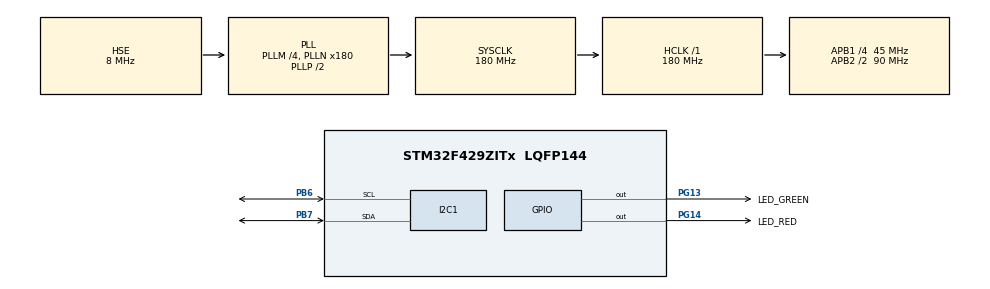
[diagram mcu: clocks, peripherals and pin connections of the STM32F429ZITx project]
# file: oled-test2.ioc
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I2C1.DutyCycle=I2C_DUTYCYCLE_16_9
I2C1.I2C_Mode=I2C_Fast
Mcu.Family=STM32F4
Mcu.Name=STM32F429ZITx
Mcu.Package=LQFP144
NVIC.PriorityGroup=NVIC_PRIORITYGROUP_4
PA13.Mode=Serial_Wire
PA13.Signal=SYS_JTMS-SWDIO
PA14.Mode=Serial_Wire
PA14.Signal=SYS_JTCK-SWCLK
PB6.Mode=I2C
PB6.Signal=I2C1_SCL
PB7.Mode=I2C
PB7.Signal=I2C1_SDA
PC14/OSC32_IN.Mode=LSE-External-Oscillator
PC14/OSC32_IN.Signal=RCC_OSC32_IN
PC15/OSC32_OUT.Mode=LSE-External-Oscillator
PC15/OSC32_OUT.Signal=RCC_OSC32_OUT
PG13.GPIO_Label=LED_GREEN
PG13.Signal=GPIO_Output
PG14.GPIO_Label=LED_RED
PG14.Signal=GPIO_Output
PH0/OSC_IN.Mode=HSE-External-Oscillator
PH0/OSC_IN.Signal=RCC_OSC_IN
PH1/OSC_OUT.Mode=HSE-External-Oscillator
PH1/OSC_OUT.Signal=RCC_OSC_OUT
ProjectManager.HeapSize=0x200
ProjectManager.StackSize=0x400
ProjectManager.TargetToolchain=MDK-ARM V5
RCC.48MHZClocksFreq_Value=45000000
RCC.AHBFreq_Value=180000000
RCC.APB1CLKDivider=RCC_HCLK_DIV4
RCC.APB1Freq_Value=45000000
RCC.APB1TimFreq_Value=90000000
RCC.APB2CLKDivider=RCC_HCLK_DIV2
RCC.APB2Freq_Value=90000000
RCC.APB2TimFreq_Value=180000000
RCC.CortexFreq_Value=180000000
RCC.HCLKFreq_Value=180000000
RCC.HSE_VALUE=8000000
RCC.HSI_VALUE=16000000
RCC.PLLM=4
RCC.PLLN=180
RCC.PLLQ=8
RCC.PLLSourceVirtual=RCC_PLLSOURCE_HSE
RCC.SYSCLKFreq_VALUE=180000000
RCC.SYSCLKSource=RCC_SYSCLKSOURCE_PLLCLK
RCC.VCOOutputFreq_Value=360000000
RTC.Date=17
RTC.Format=RTC_FORMAT_BIN
RTC.Hours=14
RTC.Minutes=12
RTC.Month=RTC_MONTH_NOVEMBER
RTC.WeekDay=RTC_WEEKDAY_TUESDAY
VP_RNG_VS_RNG.Mode=RNG_Activate
VP_RTC_VS_RTC_Activate.Mode=RTC_Enabled
VP_RTC_VS_RTC_Calendar.Mode=RTC_Calendar
board=custom

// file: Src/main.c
/* USER CODE BEGIN Header */
/**
  ******************************************************************************
  * @file           : main.c
  * @brief          : Main program body
  ******************************************************************************
  ** This notice applies to any and all portions of this file
  * that are not between comment pairs USER CODE BEGIN and
  * USER CODE END. Other portions of this file, whether
  * inserted by the user or by software development tools
  * are owned by their respective copyright owners.
  *
  * COPYRIGHT(c) 2020 STMicroelectronics
  *
  * Redistribution and use in source and binary forms, with or without modification,
  * are permitted provided that the following conditions are met:
  *   1. Redistributions of source code must retain the above copyright notice,
  *      this list of conditions and the following disclaimer.
  *   2. Redistributions in binary form must reproduce the above copyright notice,
  *      this list of conditions and the following disclaimer in the documentation
  *      and/or other materials provided with the distribution.
  *   3. Neither the name of STMicroelectronics nor the names of its contributors
  *      may be used to endorse or promote products derived from this software
  *      without specific prior written permission.
  *
  * THIS SOFTWARE IS PROVIDED BY THE COPYRIGHT HOLDERS AND CONTRIBUTORS "AS IS"
  * AND ANY EXPRESS OR IMPLIED WARRANTIES, INCLUDING, BUT NOT LIMITED TO, THE
  * IMPLIED WARRANTIES OF MERCHANTABILITY AND FITNESS FOR A PARTICULAR PURPOSE ARE
  * DISCLAIMED. IN NO EVENT SHALL THE COPYRIGHT HOLDER OR CONTRIBUTORS BE LIABLE
  * FOR ANY DIRECT, INDIRECT, INCIDENTAL, SPECIAL, EXEMPLARY, OR CONSEQUENTIAL
  * DAMAGES (INCLUDING, BUT NOT LIMITED TO, PROCUREMENT OF SUBSTITUTE GOODS OR
  * SERVICES; LOSS OF USE, DATA, OR PROFITS; OR BUSINESS INTERRUPTION) HOWEVER
  * CAUSED AND ON ANY THEORY OF LIABILITY, WHETHER IN CONTRACT, STRICT LIABILITY,
  * OR TORT (INCLUDING NEGLIGENCE OR OTHERWISE) ARISING IN ANY WAY OUT OF THE USE
  * OF THIS SOFTWARE, EVEN IF ADVISED OF THE POSSIBILITY OF SUCH DAMAGE.
  *
  ******************************************************************************
  */
/* USER CODE END Header */

#include "main.h"

/* USER CODE BEGIN Includes */
#include "SSD1306.h"
#include "Fonts.h"
#include <stdlib.h>

static I2C_HandleTypeDef hi2c1;
/* USER CODE END Includes */

/* USER CODE BEGIN PTD */
//time_t rawtime;

/* USER CODE END PTD */

static I2C_HandleTypeDef hi2c1;

RNG_HandleTypeDef hrng;

RTC_HandleTypeDef hrtc;

void SystemClock_Config(void);
static void MX_GPIO_Init(void);
static void MX_I2C1_Init(void);
static void MX_RNG_Init(void);
static void MX_RTC_Init(void);

int main(void)
{
  /* USER CODE BEGIN 1 */
	int i,sec;
	RTC_TimeTypeDef sTime;
	RTC_DateTypeDef sDate;
	char buff[20];

  /* USER CODE END 1 */

  /* MCU Configuration--------------------------------------------------------*/

  /* Reset of all peripherals, Initializes the Flash interface and the Systick. */
  HAL_Init();

  /* Configure the system clock */
  SystemClock_Config();

  /* Initialize all configured peripherals */
  MX_GPIO_Init();
  MX_I2C1_Init();
  MX_RNG_Init();
  MX_RTC_Init();
  /* USER CODE BEGIN 2 */

	if( HAL_I2C_IsDeviceReady(&hi2c1, 0x78, 1, 20) == HAL_OK)
		HAL_GPIO_WritePin(GPIOG, LED_GREEN_Pin, GPIO_PIN_SET);
	else
		HAL_GPIO_WritePin(GPIOG, LED_RED_Pin, GPIO_PIN_SET);

	ssd1306_init(&hi2c1);
	ssd1306_clear_screen(0xFF);
	ssd1306_refresh_gram(&hi2c1);
	HAL_Delay(500);
	ssd1306_clear_screen(0x00);
	ssd1306_display_string(18, 0, "1.3inch OLED", 16, 1);
	ssd1306_display_string(0, 16, "This is a demo for SSD1306 OLED moudle!", 16, 1);
	ssd1306_refresh_gram(&hi2c1);
	HAL_Delay(1000);
	ssd1306_clear_screen(0x00);

	ssd1306_draw_bitmap(0,   2,&c_chSingal816[0],   16, 8);
	ssd1306_draw_bitmap(24,  2,&c_chBluetooth88[0], 8,  8);
	ssd1306_draw_bitmap(40,  2,&c_chMsg816[0],      16, 8);
	ssd1306_draw_bitmap(64,  2,&c_chGPRS88[0],      8,  8);
	ssd1306_draw_bitmap(90,  2,&c_chAlarm88[0],     8,  8);
	ssd1306_draw_bitmap(112, 2,&c_chBat816[0],      16, 8);

	ssd1306_display_string(0,  52, "MUSIC", 12, 0);
	ssd1306_display_string(52, 52, "MENU",  12, 0);
	ssd1306_display_string(98, 52, "PHONE", 12, 0);

	//time(&rawtime);

  /* USER CODE END 2 */

  /* Infinite loop */
  /* USER CODE BEGIN WHILE */
  while (1)
  {
		HAL_Delay(100);
		HAL_RTC_GetTime(&hrtc, &sTime, RTC_FORMAT_BIN);
	  HAL_RTC_GetDate(&hrtc, &sDate, RTC_FORMAT_BIN);

		if(sec != sTime.Seconds)
		{
			sprintf(buff, "%02d:%02d:%02d", sTime.Hours, sTime.Minutes, sTime.Seconds);

	    ssd1306_draw_3216char(0,16, buff[0]);
	    ssd1306_draw_3216char(16,16, buff[1]);
	    ssd1306_draw_3216char(32,16, buff[2]);
	    ssd1306_draw_3216char(48,16, buff[3]);
	    ssd1306_draw_3216char(64,16, buff[4]);
			ssd1306_draw_1616char(80,32, buff[5]);
	    ssd1306_draw_1616char(96,32, buff[6]);
	    ssd1306_draw_1616char(112,32, buff[7]);

	    ssd1306_draw_bitmap(87, 16, &c_chBmp4016[0], 40, 16);

	    ssd1306_refresh_gram(&hi2c1);
      sec = sTime.Seconds;
		}

		//ssd1306_clear_screen(1);
		//ssd1306_clear_screen(0);
    /* USER CODE END WHILE */

  }
}

void SystemClock_Config(void)
{
  RCC_OscInitTypeDef RCC_OscInitStruct = {0};
  RCC_ClkInitTypeDef RCC_ClkInitStruct = {0};
  RCC_PeriphCLKInitTypeDef PeriphClkInitStruct = {0};

  /**Configure the main internal regulator output voltage
  */
  __HAL_RCC_PWR_CLK_ENABLE();
  __HAL_PWR_VOLTAGESCALING_CONFIG(PWR_REGULATOR_VOLTAGE_SCALE1);
  /**Initializes the CPU, AHB and APB busses clocks
  */
  RCC_OscInitStruct.OscillatorType = RCC_OSCILLATORTYPE_LSI|RCC_OSCILLATORTYPE_HSE;
  RCC_OscInitStruct.HSEState = RCC_HSE_ON;
  RCC_OscInitStruct.LSIState = RCC_LSI_ON;
  RCC_OscInitStruct.PLL.PLLState = RCC_PLL_ON;
  RCC_OscInitStruct.PLL.PLLSource = RCC_PLLSOURCE_HSE;
  RCC_OscInitStruct.PLL.PLLM = 4;
  RCC_OscInitStruct.PLL.PLLN = 180;
  RCC_OscInitStruct.PLL.PLLP = RCC_PLLP_DIV2;
  RCC_OscInitStruct.PLL.PLLQ = 8;
  if (HAL_RCC_OscConfig(&RCC_OscInitStruct) != HAL_OK)
  {
    Error_Handler();
  }
  /**Activate the Over-Drive mode
  */
  if (HAL_PWREx_EnableOverDrive() != HAL_OK)
  {
    Error_Handler();
  }
  /**Initializes the CPU, AHB and APB busses clocks
  */
  RCC_ClkInitStruct.ClockType = RCC_CLOCKTYPE_HCLK|RCC_CLOCKTYPE_SYSCLK
                              |RCC_CLOCKTYPE_PCLK1|RCC_CLOCKTYPE_PCLK2;
  RCC_ClkInitStruct.SYSCLKSource = RCC_SYSCLKSOURCE_PLLCLK;
  RCC_ClkInitStruct.AHBCLKDivider = RCC_SYSCLK_DIV1;
  RCC_ClkInitStruct.APB1CLKDivider = RCC_HCLK_DIV4;
  RCC_ClkInitStruct.APB2CLKDivider = RCC_HCLK_DIV2;

  if (HAL_RCC_ClockConfig(&RCC_ClkInitStruct, FLASH_LATENCY_5) != HAL_OK)
  {
    Error_Handler();
  }
  PeriphClkInitStruct.PeriphClockSelection = RCC_PERIPHCLK_RTC;
  PeriphClkInitStruct.RTCClockSelection = RCC_RTCCLKSOURCE_LSI;
  if (HAL_RCCEx_PeriphCLKConfig(&PeriphClkInitStruct) != HAL_OK)
  {
    Error_Handler();
  }
}

static void MX_I2C1_Init(void)
{

  hi2c1.Instance = I2C1;
  hi2c1.Init.ClockSpeed = 400000;
  hi2c1.Init.DutyCycle = I2C_DUTYCYCLE_16_9;
  hi2c1.Init.OwnAddress1 = 0;
  hi2c1.Init.AddressingMode = I2C_ADDRESSINGMODE_7BIT;
  hi2c1.Init.DualAddressMode = I2C_DUALADDRESS_DISABLE;
  hi2c1.Init.OwnAddress2 = 0;
  hi2c1.Init.GeneralCallMode = I2C_GENERALCALL_DISABLE;
  hi2c1.Init.NoStretchMode = I2C_NOSTRETCH_DISABLE;
  if (HAL_I2C_Init(&hi2c1) != HAL_OK)
  {
    Error_Handler();
  }
  /**Configure Analogue filter
  */
  if (HAL_I2CEx_ConfigAnalogFilter(&hi2c1, I2C_ANALOGFILTER_ENABLE) != HAL_OK)
  {
    Error_Handler();
  }
  /**Configure Digital filter
  */
  if (HAL_I2CEx_ConfigDigitalFilter(&hi2c1, 0) != HAL_OK)
  {
    Error_Handler();
  }

}

static void MX_RNG_Init(void)
{

  hrng.Instance = RNG;
  if (HAL_RNG_Init(&hrng) != HAL_OK)
  {
    Error_Handler();
  }

}

static void MX_RTC_Init(void)
{

  RTC_TimeTypeDef sTime = {0};
  RTC_DateTypeDef sDate = {0};

  /**Initialize RTC Only
  */
  hrtc.Instance = RTC;
  hrtc.Init.HourFormat = RTC_HOURFORMAT_24;
  hrtc.Init.AsynchPrediv = 127;
  hrtc.Init.SynchPrediv = 255;
  hrtc.Init.OutPut = RTC_OUTPUT_DISABLE;
  hrtc.Init.OutPutPolarity = RTC_OUTPUT_POLARITY_HIGH;
  hrtc.Init.OutPutType = RTC_OUTPUT_TYPE_OPENDRAIN;
  if (HAL_RTC_Init(&hrtc) != HAL_OK)
  {
    Error_Handler();
  }

  /**Initialize RTC and set the Time and Date
  */
  sTime.Hours = 14;
  sTime.Minutes = 12;
  sTime.Seconds = 0;
  sTime.DayLightSaving = RTC_DAYLIGHTSAVING_NONE;
  sTime.StoreOperation = RTC_STOREOPERATION_RESET;
  if (HAL_RTC_SetTime(&hrtc, &sTime, RTC_FORMAT_BIN) != HAL_OK)
  {
    Error_Handler();
  }
  sDate.WeekDay = RTC_WEEKDAY_TUESDAY;
  sDate.Month = RTC_MONTH_NOVEMBER;
  sDate.Date = 17;
  sDate.Year = 0;

  if (HAL_RTC_SetDate(&hrtc, &sDate, RTC_FORMAT_BIN) != HAL_OK)
  {
    Error_Handler();
  }

}

static void MX_GPIO_Init(void)
{
  GPIO_InitTypeDef GPIO_InitStruct = {0};

  /* GPIO Ports Clock Enable */
  __HAL_RCC_GPIOC_CLK_ENABLE();
  __HAL_RCC_GPIOH_CLK_ENABLE();
  __HAL_RCC_GPIOA_CLK_ENABLE();
  __HAL_RCC_GPIOG_CLK_ENABLE();
  __HAL_RCC_GPIOB_CLK_ENABLE();

  /*Configure GPIO pin Output Level */
  HAL_GPIO_WritePin(GPIOG, LED_GREEN_Pin|LED_RED_Pin, GPIO_PIN_RESET);

  /*Configure GPIO pins : LED_GREEN_Pin LED_RED_Pin */
  GPIO_InitStruct.Pin = LED_GREEN_Pin|LED_RED_Pin;
  GPIO_InitStruct.Mode = GPIO_MODE_OUTPUT_PP;
  GPIO_InitStruct.Pull = GPIO_NOPULL;
  GPIO_InitStruct.Speed = GPIO_SPEED_FREQ_LOW;
  HAL_GPIO_Init(GPIOG, &GPIO_InitStruct);

}

void Error_Handler(void)
{
}

/************************ (C) COPYRIGHT STMicroelectronics *****END OF FILE****/
